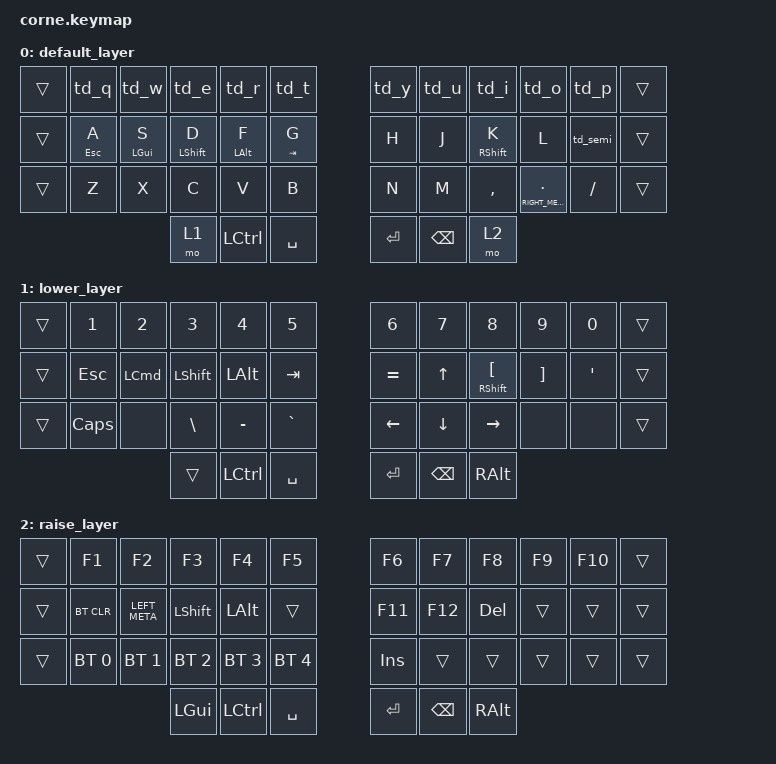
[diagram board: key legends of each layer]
#include <behaviors.dtsi>
#include <dt-bindings/zmk/bt.h>
#include <dt-bindings/zmk/keys.h>

#define TIMEOUT 170
#define IDLE_TIMEOUT 130

/ {
    behaviors {
        hm: homerow_mods {
            compatible = "zmk,behavior-hold-tap";
            #binding-cells = <2>;
            tapping-term-ms = <250>;
            quick-tap-ms = <150>;
            require-prior-idle-ms = <150>;
            flavor = "balanced";
            bindings = <&kp>, <&kp>;
        };

        // Number row tap-dance behaviors

        td_q: td_q {
            compatible = "zmk,behavior-tap-dance";
            #binding-cells = <0>;
            tapping-term-ms = <TIMEOUT>;
            bindings = <&kp Q>, <&kp N1>;
        };

        td_w: td_w {
            compatible = "zmk,behavior-tap-dance";
            #binding-cells = <0>;
            tapping-term-ms = <TIMEOUT>;
            bindings = <&kp W>, <&kp N2>;
        };

        td_e: td_e {
            compatible = "zmk,behavior-tap-dance";
            #binding-cells = <0>;
            tapping-term-ms = <TIMEOUT>;
            bindings = <&kp E>, <&kp N3>;
        };

        td_r: td_r {
            compatible = "zmk,behavior-tap-dance";
            #binding-cells = <0>;
            tapping-term-ms = <TIMEOUT>;
            bindings = <&kp R>, <&kp N4>;
        };

        td_t: td_t {
            compatible = "zmk,behavior-tap-dance";
            #binding-cells = <0>;
            tapping-term-ms = <TIMEOUT>;
            bindings = <&kp T>, <&kp N5>;
        };

        td_y: td_y {
            compatible = "zmk,behavior-tap-dance";
            #binding-cells = <0>;
            tapping-term-ms = <TIMEOUT>;
            bindings = <&kp Y>, <&kp N6>;
        };

        td_u: td_u {
            compatible = "zmk,behavior-tap-dance";
            #binding-cells = <0>;
            tapping-term-ms = <TIMEOUT>;
            bindings = <&kp U>, <&kp N7>;
        };

        td_i: td_i {
            compatible = "zmk,behavior-tap-dance";
            #binding-cells = <0>;
            tapping-term-ms = <TIMEOUT>;
            bindings = <&kp I>, <&kp N8>;
        };

        td_o: td_o {
            compatible = "zmk,behavior-tap-dance";
            #binding-cells = <0>;
            tapping-term-ms = <TIMEOUT>;
            bindings = <&kp O>, <&kp N9>;
        };

        td_p: td_p {
            compatible = "zmk,behavior-tap-dance";
            #binding-cells = <0>;
            tapping-term-ms = <TIMEOUT>;
            bindings = <&kp P>, <&kp N0>;
        };

        // Symbol tap-dance behaviors

        td_semi: td_semi {
            compatible = "zmk,behavior-tap-dance";
            #binding-cells = <0>;
            tapping-term-ms = <TIMEOUT>;
            bindings = <&kp SEMICOLON>, <&kp SQT>;
        };

        td_n: td_n {
            compatible = "zmk,behavior-tap-dance";
            #binding-cells = <0>;
            tapping-term-ms = <TIMEOUT>;
            bindings = <&kp N>, <&kp MINUS>;
        };

        td_h: td_h {
            compatible = "zmk,behavior-tap-dance";
            #binding-cells = <0>;
            tapping-term-ms = <TIMEOUT>;
            bindings = <&kp H>, <&kp LEFT_BRACKET>;
        };

        td_j: td_j {
            compatible = "zmk,behavior-tap-dance";
            #binding-cells = <0>;
            tapping-term-ms = <TIMEOUT>;
            bindings = <&kp J>, <&kp RIGHT_BRACKET>;
        };

        td_l: td_l {
            compatible = "zmk,behavior-tap-dance";
            #binding-cells = <0>;
            tapping-term-ms = <TIMEOUT>;
            bindings = <&kp L>, <&kp EQUAL>;
        };

        td_b: td_b {
            compatible = "zmk,behavior-tap-dance";
            #binding-cells = <0>;
            tapping-term-ms = <TIMEOUT>;
            bindings = <&kp B>, <&kp TILDE>;
        };
    };

    keymap {
        compatible = "zmk,keymap";

        default_layer {
            bindings = <
&trans  &td_q      &td_w       &td_e         &td_r       &td_t        &td_y    &td_u     &td_i         &td_o                  &td_p      &trans
&trans  &hm ESC A  &hm LGUI S  &hm LSHIFT D  &hm LALT F  &mt TAB G    &kp H    &kp J     &hm RSHIFT K  &kp L                  &td_semi   &trans
&trans  &kp Z      &kp X       &kp C         &kp V       &kp B        &kp N    &kp M     &kp COMMA     &hm RIGHT_META PERIOD  &kp SLASH  &trans
                               &mo 1         &kp LCTRL   &kp SPACE    &kp RET  &kp BSPC  &mo 2
            >;
        };

        lower_layer {
            bindings = <
&trans  &kp N1      &kp N2    &kp N3         &kp N4        &kp N5       &kp N6     &kp N7         &kp N8                  &kp N9             &kp N0   &trans
&trans  &kp ESCAPE  &kp LCMD  &kp LSHFT      &kp LEFT_ALT  &kp TAB      &kp EQUAL  &kp UP_ARROW   &hm RSHFT LEFT_BRACKET  &kp RIGHT_BRACKET  &kp SQT  &trans
&trans  &kp CAPS    &none     &kp BACKSLASH  &kp MINUS     &kp GRAVE    &kp LEFT   &kp DOWN       &kp RIGHT               &none              &none    &trans
                              &trans         &kp LCTRL     &kp SPACE    &kp RET    &kp BACKSPACE  &kp RALT
            >;
        };

        raise_layer {
            bindings = <
&trans  &kp F1        &kp F2         &kp F3        &kp F4        &kp F5          &kp F6      &kp F7         &kp F8      &kp F9  &kp F10  &trans
&trans  &bt BT_CLR    &kp LEFT_META  &kp LSHIFT    &kp LALT      &trans          &kp F11     &kp F12        &kp DELETE  &trans  &trans   &trans
&trans  &bt BT_SEL 0  &bt BT_SEL 1   &bt BT_SEL 2  &bt BT_SEL 3  &bt BT_SEL 4    &kp INSERT  &trans         &trans      &trans  &trans   &trans
                                     &kp LGUI      &kp LCTRL     &kp SPACE       &kp RET     &kp BACKSPACE  &kp RALT
            >;
        };
    };
};
